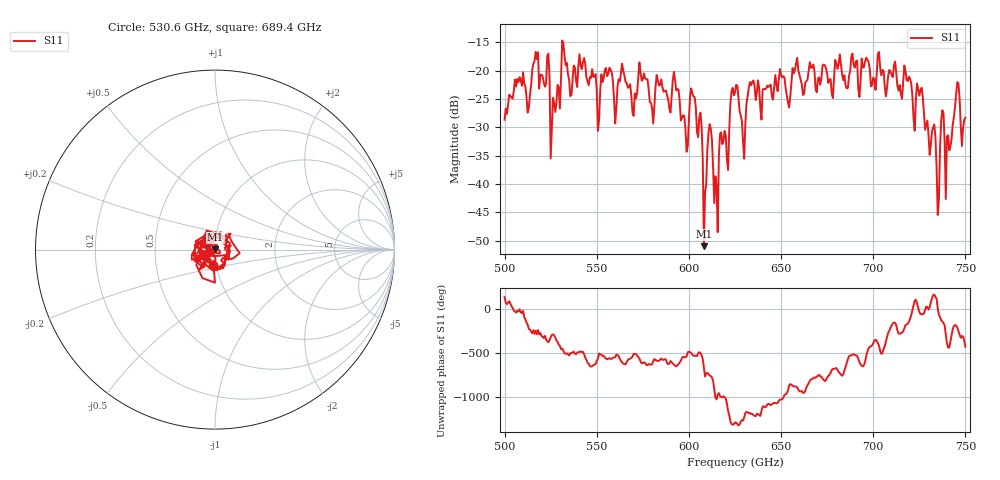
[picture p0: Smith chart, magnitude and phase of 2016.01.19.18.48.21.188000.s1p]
!Created with skrf (http://scikit-rf.org).
# GHz S RI R 50.0
!freq ReS11 ImS11
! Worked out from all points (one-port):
!   401 points, 500 GHz to 750 GHz, reference 50 ohm
!   lowest |S11| = -51.0 dB at 608.1 GHz (marker M1), VSWR 1.01, Z = 50.2 + j0.238 ohm
!   |S11| at or under -10 dB: start of sweep to end of sweep
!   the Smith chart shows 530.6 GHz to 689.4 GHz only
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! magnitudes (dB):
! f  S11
! 500 GHz  -28.7
! 506.9 GHz  -21.5
! 513.1 GHz  -26.7
! 516.9 GHz  -16.7
! 523.1 GHz  -17.4
! 526.2 GHz  -24.8
! 531.2 GHz  -14.7
! 550.6 GHz  -30.7
! 562.5 GHz  -21.9
! 580 GHz  -26.6
! 593.8 GHz  -23.2
! 598.8 GHz  -34.3
! 602.5 GHz  -24.6
! 608.1 GHz  -51.0
! 611.2 GHz  -29.5
! 615 GHz  -40.3
! 625 GHz  -23.9
! 629.4 GHz  -32.6
! 633.8 GHz  -22.6
! 656.2 GHz  -19.6
! 687.5 GHz  -20.1
! 718.8 GHz  -21.9
! 725.6 GHz  -23.5
! 735 GHz  -45.5
! 737.5 GHz  -27.0
! 740.6 GHz  -31.4
! 745.6 GHz  -22.0
! 750 GHz  -28.3
